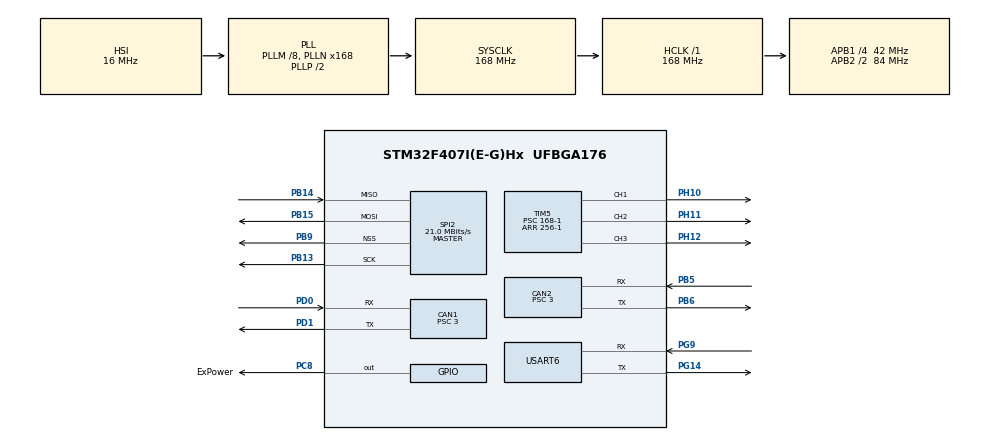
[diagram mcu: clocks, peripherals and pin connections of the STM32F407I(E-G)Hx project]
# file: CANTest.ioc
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CAN1.BS1=CAN_BS1_10TQ
CAN1.BS2=CAN_BS2_3TQ
CAN1.CalculateBaudRate=1000000
CAN1.CalculateTimeBit=1000
CAN1.CalculateTimeQuantum=71.42857142857143
CAN1.Prescaler=3
CAN2.BS1=CAN_BS1_10TQ
CAN2.BS2=CAN_BS2_3TQ
CAN2.CalculateBaudRate=1000000
CAN2.CalculateTimeBit=1000
CAN2.CalculateTimeQuantum=71.42857142857143
CAN2.Prescaler=3
Dma.Request0=SPI2_RX
Dma.Request1=SPI2_TX
Dma.SPI2_RX.0.Direction=DMA_PERIPH_TO_MEMORY
Dma.SPI2_RX.0.FIFOMode=DMA_FIFOMODE_DISABLE
Dma.SPI2_RX.0.Instance=DMA1_Stream3
Dma.SPI2_RX.0.MemDataAlignment=DMA_MDATAALIGN_BYTE
Dma.SPI2_RX.0.MemInc=DMA_MINC_ENABLE
Dma.SPI2_RX.0.Mode=DMA_NORMAL
Dma.SPI2_RX.0.PeriphDataAlignment=DMA_PDATAALIGN_BYTE
Dma.SPI2_RX.0.PeriphInc=DMA_PINC_DISABLE
Dma.SPI2_RX.0.Priority=DMA_PRIORITY_LOW
Dma.SPI2_TX.1.Direction=DMA_MEMORY_TO_PERIPH
Dma.SPI2_TX.1.FIFOMode=DMA_FIFOMODE_DISABLE
Dma.SPI2_TX.1.Instance=DMA1_Stream4
Dma.SPI2_TX.1.MemDataAlignment=DMA_MDATAALIGN_BYTE
Dma.SPI2_TX.1.MemInc=DMA_MINC_ENABLE
Dma.SPI2_TX.1.Mode=DMA_NORMAL
Dma.SPI2_TX.1.PeriphDataAlignment=DMA_PDATAALIGN_BYTE
Dma.SPI2_TX.1.PeriphInc=DMA_PINC_DISABLE
Dma.SPI2_TX.1.Priority=DMA_PRIORITY_LOW
Mcu.Family=STM32F4
Mcu.Name=STM32F407I(E-G)Hx
Mcu.Package=UFBGA176
NVIC.CAN1_RX0_IRQn=true\:0\:0\:false\:false\:true\:true\:true\:true
NVIC.CAN2_RX0_IRQn=true\:0\:0\:false\:false\:true\:true\:true\:true
NVIC.CAN2_RX1_IRQn=true\:0\:0\:false\:false\:true\:true\:true\:true
NVIC.DMA1_Stream3_IRQn=true\:0\:0\:false\:false\:true\:false\:true\:true
NVIC.DMA1_Stream4_IRQn=true\:0\:0\:false\:false\:true\:false\:true\:true
NVIC.PriorityGroup=NVIC_PRIORITYGROUP_4
NVIC.TIM2_IRQn=true\:0\:0\:true\:false\:true\:true\:true\:true
PA13.Mode=Serial_Wire
PA13.Signal=SYS_JTMS-SWDIO
PA14.Mode=Serial_Wire
PA14.Signal=SYS_JTCK-SWCLK
PB13.GPIO_Speed=GPIO_SPEED_FREQ_VERY_HIGH
PB13.Mode=Full_Duplex_Master
PB13.Signal=SPI2_SCK
PB14.GPIO_Speed=GPIO_SPEED_FREQ_VERY_HIGH
PB14.Mode=Full_Duplex_Master
PB14.Signal=SPI2_MISO
PB15.GPIO_Speed=GPIO_SPEED_FREQ_VERY_HIGH
PB15.Mode=Full_Duplex_Master
PB15.Signal=SPI2_MOSI
PB5.Mode=CAN_Activate
PB5.Signal=CAN2_RX
PB6.Mode=CAN_Activate
PB6.Signal=CAN2_TX
PB9.Mode=NSS_Signal_Hard_Output
PB9.Signal=SPI2_NSS
PC8.GPIO_Label=ExPower
PC8.GPIO_PuPd=GPIO_PULLDOWN
PC8.Signal=GPIO_Output
PD0.Mode=CAN_Activate
PD0.Signal=CAN1_RX
PD1.Mode=CAN_Activate
PD1.Signal=CAN1_TX
PG14.Mode=Asynchronous
PG14.Signal=USART6_TX
PG9.Mode=Asynchronous
PG9.Signal=USART6_RX
PH0-OSC_IN.Mode=HSE-External-Oscillator
PH0-OSC_IN.Signal=RCC_OSC_IN
PH1-OSC_OUT.Mode=HSE-External-Oscillator
PH1-OSC_OUT.Signal=RCC_OSC_OUT
PH10.Signal=S_TIM5_CH1
PH11.Signal=S_TIM5_CH2
PH12.Signal=S_TIM5_CH3
ProjectManager.HeapSize=0x200
ProjectManager.StackSize=0x400
ProjectManager.TargetToolchain=STM32CubeIDE
RCC.48MHZClocksFreq_Value=84000000
RCC.AHBFreq_Value=168000000
RCC.APB1CLKDivider=RCC_HCLK_DIV4
RCC.APB1Freq_Value=42000000
RCC.APB1TimFreq_Value=84000000
RCC.APB2CLKDivider=RCC_HCLK_DIV2
RCC.APB2Freq_Value=84000000
RCC.APB2TimFreq_Value=168000000
RCC.CortexFreq_Value=168000000
RCC.HCLKFreq_Value=168000000
RCC.HSE_VALUE=25000000
RCC.HSI_VALUE=16000000
RCC.LSE_VALUE=32768
RCC.PLLM=8
RCC.PLLN=168
RCC.SYSCLKFreq_VALUE=168000000
RCC.SYSCLKSource=RCC_SYSCLKSOURCE_PLLCLK
RCC.VCOOutputFreq_Value=336000000
SH.S_TIM5_CH1.0=TIM5_CH1,PWM Generation1 CH1
SH.S_TIM5_CH2.0=TIM5_CH2,PWM Generation2 CH2
SH.S_TIM5_CH3.0=TIM5_CH3,PWM Generation3 CH3
SPI2.BaudRatePrescaler=SPI_BAUDRATEPRESCALER_2
SPI2.CRCCalculation=SPI_CRCCALCULATION_DISABLE
SPI2.CalculateBaudRate=21.0 MBits/s
SPI2.DataSize=SPI_DATASIZE_8BIT
SPI2.Direction=SPI_DIRECTION_2LINES
SPI2.Mode=SPI_MODE_MASTER
SPI2.VirtualNSS=VM_NSSHARD
SPI2.VirtualType=VM_MASTER
TIM2.Period=10000-1
TIM2.Prescaler=168-1
TIM5.AutoReloadPreload=TIM_AUTORELOAD_PRELOAD_ENABLE
TIM5.Channel-PWM\ Generation1\ CH1=TIM_CHANNEL_1
TIM5.Channel-PWM\ Generation2\ CH2=TIM_CHANNEL_2
TIM5.Channel-PWM\ Generation3\ CH3=TIM_CHANNEL_3
TIM5.Period=256-1
TIM5.Prescaler=168-1
USART6.VirtualMode=VM_ASYNC
VP_TIM2_VS_ClockSourceINT.Mode=Internal
VP_TIM5_VS_ClockSourceINT.Mode=Internal
board=custom

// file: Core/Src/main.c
/* USER CODE BEGIN Header */
/**
  ******************************************************************************
  * @file           : main.c
  * @brief          : Main program body
  ******************************************************************************
  * @attention
  *
  * Copyright (c) 2024 STMicroelectronics.
  * All rights reserved.
  *
  * This software is licensed under terms that can be found in the LICENSE file
  * in the root directory of this software component.
  * If no LICENSE file comes with this software, it is provided AS-IS.
  *
  ******************************************************************************
  */
/* USER CODE END Header */
#include "main.h"
#include "can.h"
#include "dma.h"
#include "spi.h"
#include "tim.h"
#include "usart.h"
#include "gpio.h"

/* USER CODE BEGIN Includes */
#include "stdio.h"
#include "string.h"
#include "timer.h"
#include "ucan.h"
#include "uspi.h"
#include "led.h"
#include "common.h"
/* USER CODE END Includes */

/* USER CODE BEGIN PV */

//uint8_t spi_tx[] = {0xff};

/* USER CODE END PV */

void SystemClock_Config(void);

/* USER CODE BEGIN 0 */

// TEST
uint8_t spi_tx_test[BUFFER_SIZE] = {1, 2, 3, 4, 5, 6, 7, 8};
uint8_t can_tx_test[8] = {0, 1, 2, 3, 4, 5, 6, 7};
uint8_t can_tx_test_1[8] = {0, 1, 2, 3, 4, 5, 6, 7};
uint8_t can_tx_test_2[8] = {1, 2, 3, 4, 5, 6, 7, 8};
uint8_t can_tx_test_3[8] = {2, 3, 4, 5, 6, 7, 8, 9};
uint8_t can_tx_test_4[8] = {3, 4, 5, 6, 7, 8, 9, 10};
uint8_t can_tx_test_5[8] = {4, 5, 6, 7, 8, 9, 10, 11};
uint8_t can_tx_test_6[8] = {5, 6, 7, 8, 9, 10, 11, 12};

/* USER CODE END 0 */

int main(void)
{

  /* MCU Configuration--------------------------------------------------------*/

  /* Reset of all peripherals, Initializes the Flash interface and the Systick. */
  HAL_Init();

  /* Configure the system clock */
  SystemClock_Config();

  /* Initialize all configured peripherals */
  MX_GPIO_Init();
  MX_DMA_Init();
  MX_CAN1_Init();
  MX_CAN2_Init();
  MX_SPI2_Init();
  MX_TIM2_Init();
  MX_TIM5_Init();
  MX_USART6_UART_Init();
  /* USER CODE BEGIN 2 */
  TimInit(&htim2);
  CanInit(&hcan1);
  CanInit(&hcan2);
  ledInit(&htim5);
  spiInit(&hspi2);

  HAL_GPIO_WritePin(ExPower_GPIO_Port, ExPower_Pin, GPIO_PIN_SET);
  ledSet(255, 255, 255);

   HAL_Delay(2000); // 延时 2s 等从机先启动
//  uint8_t tmp[6] = {0xff, 1, 2, 3, 4, 0xfe};
//  HAL_SPI_Transmit_DMA(&hspi2, spi_tx_test, BUFFER_SIZE);

  ledSet(255, 0, 0);

  /* USER CODE END 2 */

  /* Infinite loop */
  /* USER CODE BEGIN WHILE */

  while (1)
  {
    CanSend(&hcan2, can_tx_test_1, 0x01);
    HAL_Delay(1);
    CanSend(&hcan2, can_tx_test_2, 0x02);
    HAL_Delay(1);
    CanSend(&hcan2, can_tx_test_3, 0x03);
    HAL_Delay(1);
    CanSend(&hcan2, can_tx_test_4, 0x04);
    HAL_Delay(1);
    CanSend(&hcan2, can_tx_test_5, 0x05);
    HAL_Delay(1);
    CanSend(&hcan2, can_tx_test_6, 0x06);
    HAL_Delay(1);
    spiTransmitReceive((uint8_t *)"1145141919810abcdefghijklmnopqrstuvwxyz\r\n", sizeof "1145141919810abcdefghijklmnopqrstuvwxyz\r\n", 1);
    HAL_Delay(1);
    /* USER CODE END WHILE */

  }
}

void SystemClock_Config(void)
{
  RCC_OscInitTypeDef RCC_OscInitStruct = {0};
  RCC_ClkInitTypeDef RCC_ClkInitStruct = {0};

  /** Configure the main internal regulator output voltage
  */
  __HAL_RCC_PWR_CLK_ENABLE();
  __HAL_PWR_VOLTAGESCALING_CONFIG(PWR_REGULATOR_VOLTAGE_SCALE1);

  /** Initializes the RCC Oscillators according to the specified parameters
  * in the RCC_OscInitTypeDef structure.
  */
  RCC_OscInitStruct.OscillatorType = RCC_OSCILLATORTYPE_HSI;
  RCC_OscInitStruct.HSIState = RCC_HSI_ON;
  RCC_OscInitStruct.HSICalibrationValue = RCC_HSICALIBRATION_DEFAULT;
  RCC_OscInitStruct.PLL.PLLState = RCC_PLL_ON;
  RCC_OscInitStruct.PLL.PLLSource = RCC_PLLSOURCE_HSI;
  RCC_OscInitStruct.PLL.PLLM = 8;
  RCC_OscInitStruct.PLL.PLLN = 168;
  RCC_OscInitStruct.PLL.PLLP = RCC_PLLP_DIV2;
  RCC_OscInitStruct.PLL.PLLQ = 4;
  if (HAL_RCC_OscConfig(&RCC_OscInitStruct) != HAL_OK)
  {
    Error_Handler();
  }

  /** Initializes the CPU, AHB and APB buses clocks
  */
  RCC_ClkInitStruct.ClockType = RCC_CLOCKTYPE_HCLK|RCC_CLOCKTYPE_SYSCLK
                              |RCC_CLOCKTYPE_PCLK1|RCC_CLOCKTYPE_PCLK2;
  RCC_ClkInitStruct.SYSCLKSource = RCC_SYSCLKSOURCE_PLLCLK;
  RCC_ClkInitStruct.AHBCLKDivider = RCC_SYSCLK_DIV1;
  RCC_ClkInitStruct.APB1CLKDivider = RCC_HCLK_DIV4;
  RCC_ClkInitStruct.APB2CLKDivider = RCC_HCLK_DIV2;

  if (HAL_RCC_ClockConfig(&RCC_ClkInitStruct, FLASH_LATENCY_5) != HAL_OK)
  {
    Error_Handler();
  }
}

void Error_Handler(void)
{
  __disable_irq();
  while (1)
  {
  }
}
